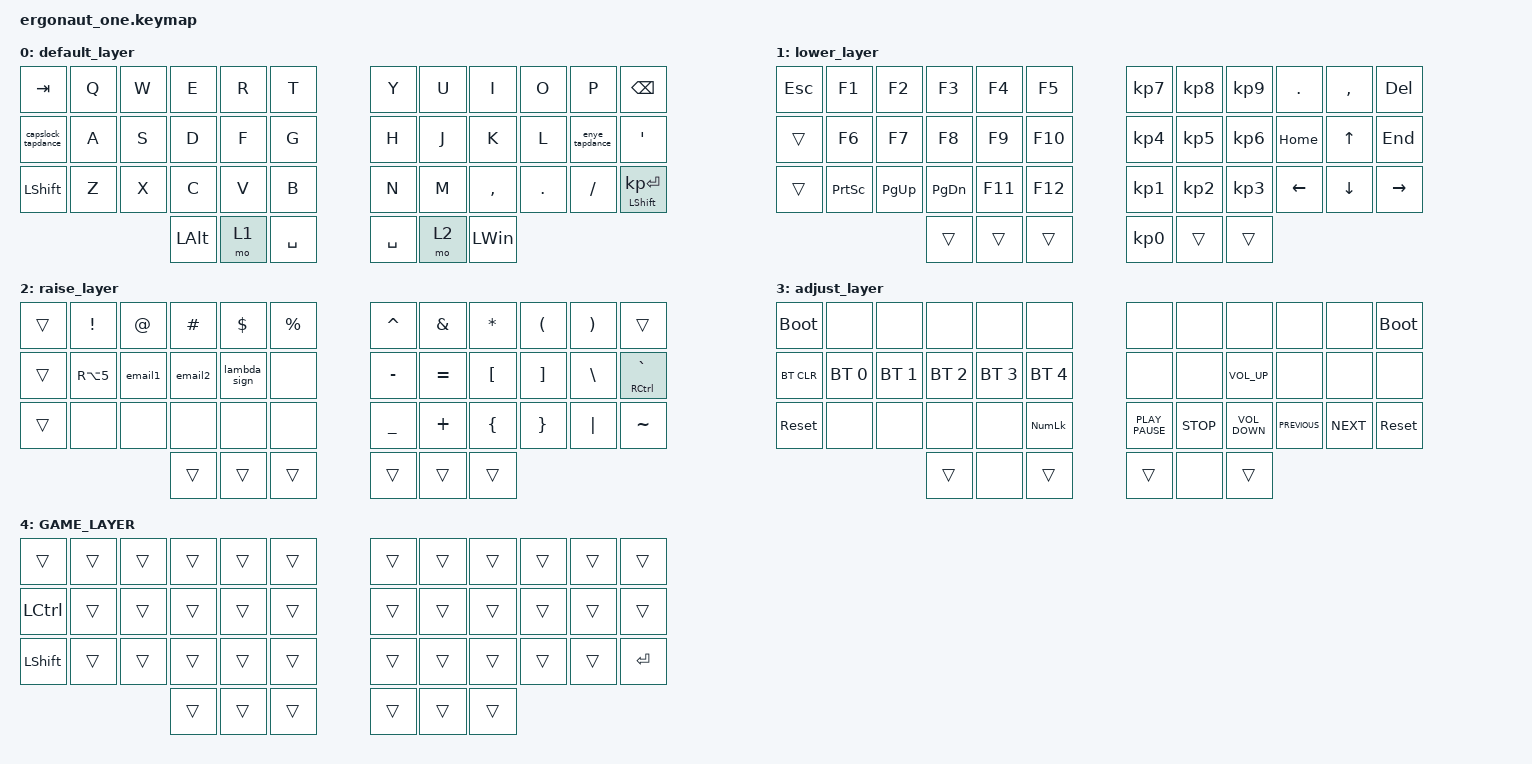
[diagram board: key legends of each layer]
/*
 * Copyright (c) 2021 Rafael Yumagulov
 *
 * SPDX-License-Identifier: MIT
 */

#include <behaviors.dtsi>
#include <dt-bindings/zmk/bt.h>
#include <dt-bindings/zmk/keys.h>

#define DEF 0
#define LWR 1
#define RSE 2
#define ADJ 3

&lt {
    quick_tap_ms = <200>;
};

&mt {
    quick_tap_ms = <200>;
};

/ {
    chosen {
        zmk,matrix_transform = &default_transform;

        // zmk,matrix_transform = &extra_keys_transform;
    };
};

/ {
    macros {
        email1: email1 {
            compatible = "zmk,behavior-macro";
            #binding-cells = <0>;
            bindings = <&kp L &kp E &kp C &kp H &kp U &kp C &kp K &kp T &kp H &kp E &kp P &kp I &kp R &kp A &kp T &kp E &kp AT &kp G &kp M &kp A &kp I &kp L &kp DOT &kp C &kp O &kp M>;
            label = "EMAIL1";
        };

        email2: email2 {
            compatible = "zmk,behavior-macro";
            #binding-cells = <0>;
            bindings = <&kp J &kp O &kp A &kp N &kp DOT &kp V &kp I &kp L &kp A &kp R &kp I &kp N &kp O &kp AT &kp G &kp M &kp A &kp I &kp L &kp DOT &kp C &kp O &kp M>;
            label = "EMAIL2";
        };

        lambda_sign: lambda_sign {
            compatible = "zmk,behavior-macro";
            #binding-cells = <0>;
            bindings = <&kp EQUAL &kp GT>;
            label = "LAMBDA_SIGN";
        };

        enye: enye {
            compatible = "zmk,behavior-macro";
            #binding-cells = <0>;
            bindings = <&kp TILDE &kp N>;
            label = "ENYE";
        };
    };

    behaviors {
        enye_tapdance: enye_tapdance {
            compatible = "zmk,behavior-tap-dance";
            label = "ENYE_TAPDANCE";
            #binding-cells = <0>;
            bindings = <&kp SEMICOLON>, <&enye>;
        };

        capslock_tapdance: capslock_tapdance {
            compatible = "zmk,behavior-tap-dance";
            label = "CAPSLOCK_TAPDANCE";
            #binding-cells = <0>;
            bindings = <&kp LCTRL>, <&kp CAPSLOCK>;

            tapping-term-ms = <150>;
        };
    };

    combos {
        compatible = "zmk,combos";

        toggle_game {
            bindings = <&tog 4>;
            key-positions = <0 11 37 40>;
        };
    };

    keymap {
        compatible = "zmk,keymap";

        default_layer {
            bindings = <
&kp TAB             &kp Q  &kp W  &kp E         &kp R  &kp T      &kp Y      &kp U  &kp I         &kp O    &kp P           &kp BACKSPACE
&capslock_tapdance  &kp A  &kp S  &kp D         &kp F  &kp G      &kp H      &kp J  &kp K         &kp L    &enye_tapdance  &kp SINGLE_QUOTE
&kp LSHIFT          &kp Z  &kp X  &kp C         &kp V  &kp B      &kp N      &kp M  &kp COMMA     &kp DOT  &kp FSLH        &mt LSHIFT KP_ENTER
                                  &kp LEFT_ALT  &mo 1  &kp SPACE  &kp SPACE  &mo 2  &kp LEFT_WIN
            >;
        };

        lower_layer {
            bindings = <
&kp ESCAPE  &kp F1           &kp F2     &kp F3         &kp F4   &kp F5   &kp KP_NUMBER_7  &kp KP_NUMBER_8  &kp KP_NUMBER_9  &kp DOT   &kp COMMA       &kp DELETE
&trans      &kp F6           &kp F7     &kp F8         &kp F9   &kp F10  &kp KP_NUMBER_4  &kp KP_NUMBER_5  &kp KP_NUMBER_6  &kp HOME  &kp UP_ARROW    &kp END
&trans      &kp PRINTSCREEN  &kp PG_UP  &kp PAGE_DOWN  &kp F11  &kp F12  &kp KP_NUMBER_1  &kp KP_NUMBER_2  &kp KP_NUMBER_3  &kp LEFT  &kp DOWN_ARROW  &kp RIGHT
                                        &trans         &trans   &trans   &kp KP_NUMBER_0  &trans           &trans
            >;
        };

        raise_layer {
            bindings = <
&trans  &kp EXCL    &kp AT   &kp HASH  &kp DOLLAR    &kp PERCENT  &kp CARET       &kp AMPERSAND  &kp ASTERISK      &kp LEFT_PARENTHESIS  &kp RIGHT_PARENTHESIS  &trans
&trans  &kp RA(N5)  &email1  &email2   &lambda_sign  &none        &kp MINUS       &kp EQUAL      &kp LEFT_BRACKET  &kp RIGHT_BRACKET     &kp BACKSLASH          &mt RCTRL GRAVE
&trans  &none       &none    &none     &none         &none        &kp UNDERSCORE  &kp PLUS       &kp LEFT_BRACE    &kp RIGHT_BRACE       &kp PIPE               &kp TILDE
                             &trans    &trans        &trans       &trans          &trans         &trans
            >;
        };

        adjust_layer {
            bindings = <
&bootloader  &none         &none         &none         &none         &none           &none             &none       &none              &none           &none       &bootloader
&bt BT_CLR   &bt BT_SEL 0  &bt BT_SEL 1  &bt BT_SEL 2  &bt BT_SEL 3  &bt BT_SEL 4    &none             &none       &kp C_VOLUME_UP    &none           &none       &none
&sys_reset   &none         &none         &none         &none         &kp KP_NUMLOCK  &kp K_PLAY_PAUSE  &kp K_STOP  &kp C_VOLUME_DOWN  &kp K_PREVIOUS  &kp K_NEXT  &sys_reset
                                         &trans        &none         &trans          &trans            &none       &trans
            >;
        };

        game_layer {
            bindings = <
&trans      &trans  &trans  &trans  &trans  &trans  &trans  &trans  &trans  &trans  &trans  &trans
&kp LCTRL   &trans  &trans  &trans  &trans  &trans  &trans  &trans  &trans  &trans  &trans  &trans
&kp LSHIFT  &trans  &trans  &trans  &trans  &trans  &trans  &trans  &trans  &trans  &trans  &kp ENTER
                            &trans  &trans  &trans  &trans  &trans  &trans
            >;

            label = "GAME_LAYER";
        };
    };

    conditional_layers {
        compatible = "zmk,conditional-layers";

        tri-layer {
            if-layers = <1 2>;
            then-layer = <3>;
        };
    };
};
